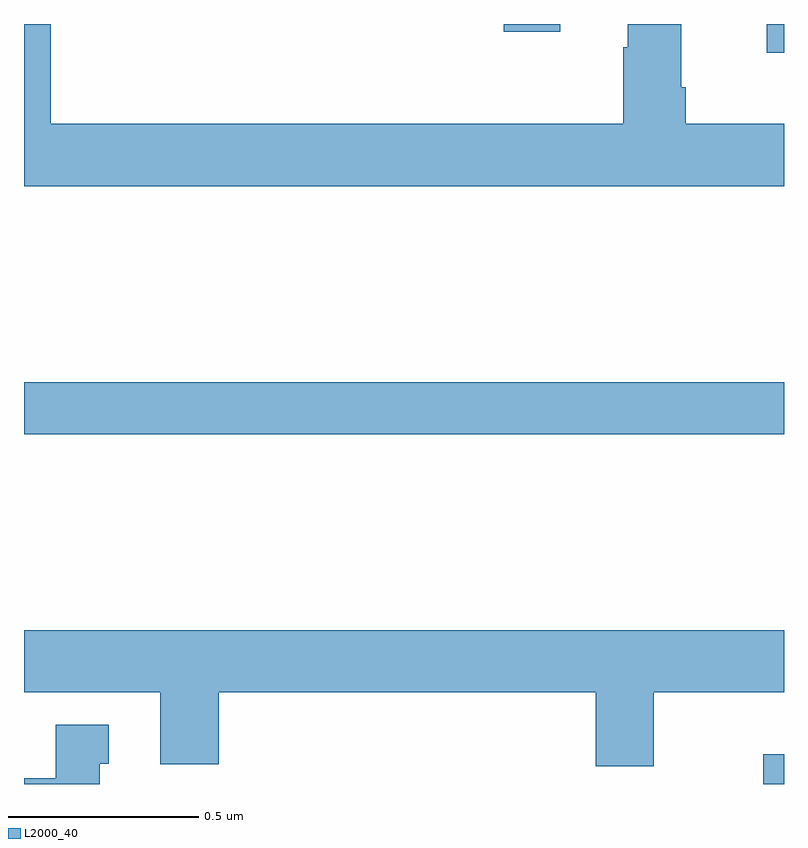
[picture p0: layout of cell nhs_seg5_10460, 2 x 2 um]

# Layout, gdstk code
import gdstk
lib = gdstk.Library(unit=1e-6, precision=1e-09)
def R(c, l, rs):  # rectangles x0, y0, x1, y1
    for r in rs: c.add(gdstk.rectangle(r[:2], r[2:], *l))
def P(c, l, *ps):  # polygons
    for p in ps: c.add(gdstk.Polygon(p, *l))
L2000_40 = (2000, 40)

nhs_seg5_10460 = lib.new_cell('nhs_seg5_10460')
R(nhs_seg5_10460, L2000_40, [(247.946,909.799,248,909.877), (246,910.72,248,910.856), (247.954,911.723,248,911.799), (247.263,911.778,247.411,911.799)])
P(nhs_seg5_10460, L2000_40, [(248,911.536),(247.742,911.536),(247.742,911.632),(247.729,911.632),(247.729,911.799),(247.589,911.799),(247.589,911.738),(247.577,911.738),(247.577,911.536),(246.071,911.536),(246.071,911.799),(246,911.799),(246,911.372),(248,911.372)],
  [(247.657,910.04),(248,910.04),(248,910.204),(246,910.204),(246,910.04),(246.359,910.04),(246.359,909.851),(246.512,909.851),(246.512,910.04),(247.505,910.04),(247.505,909.846),(247.657,909.846)],
  [(246.199,909.852),(246.223,909.852),(246.223,909.955),(246.083,909.955),(246.083,909.814),(246,909.814),(246,909.799),(246.199,909.799)])

lib.write_gds('nhs_seg5_10460.gds')
